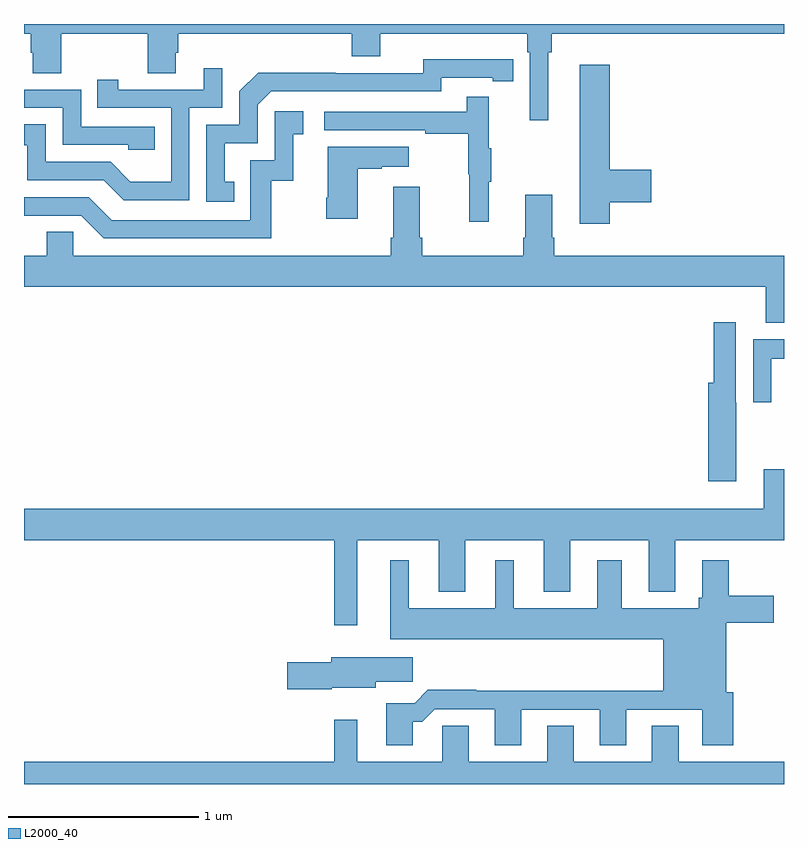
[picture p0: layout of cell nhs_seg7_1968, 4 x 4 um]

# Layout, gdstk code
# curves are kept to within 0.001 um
import gdstk
lib = gdstk.Library(unit=1e-6, precision=1e-09)
def P(c, l, *ps):  # polygons
    for p in ps: c.add(gdstk.Polygon(p, *l))
L2000_40 = (2000, 40)

nhs_seg7_1968 = lib.new_cell('nhs_seg7_1968')
P(nhs_seg7_1968, L2000_40, [(247,1002),(243,1002),(243,1001.948),(243.035,1001.948),(243.035,1001.85),(243.047,1001.85),(243.047,1001.74),(243.195,1001.74),(243.195,1001.948),(243.652,1001.948),(243.652,1001.74),(243.799,1001.74),(243.799,1001.85),(243.812,1001.85),(243.812,1001.948),(244.724,1001.948),(244.724,1001.831),(244.876,1001.831),(244.876,1001.948),(245.648,1001.948),(245.648,1001.852),(245.661,1001.852),(245.661,1001.493),(245.758,1001.493),(245.758,1001.852),(245.777,1001.852),(245.777,1001.948),(247,1001.948)],
  [(244.106,1001.169),(244.057,1001.169),(244.057,1001.373),(244.23,1001.373),(244.23,1001.574),(244.302,1001.646),(245.196,1001.646),(245.196,1001.718),(245.468,1001.718),(245.468,1001.698),(245.576,1001.698),(245.576,1001.814),(245.1,1001.815),(245.1,1001.742),(244.64,1001.742),(244.64,1001.744),(244.232,1001.744),(244.134,1001.646),(244.134,1001.469),(243.96,1001.469),(243.96,1001.064),(244.106,1001.064)],
  [(246.083,1001.063),(246.301,1001.063),(246.301,1001.234),(246.083,1001.234),(246.083,1001.785),(245.924,1001.785),(245.924,1000.95),(246.083,1000.95)],
  [(243.87,1001.559),(244.044,1001.559),(244.044,1001.767),(243.947,1001.767),(243.947,1001.655),(243.496,1001.655),(243.496,1001.707),(243.385,1001.707),(243.385,1001.559),(243.774,1001.559),(243.774,1001.17),(243.56,1001.17),(243.456,1001.274),(243.114,1001.274),(243.114,1001.473),(243,1001.473),(243,1001.363),(243.016,1001.363),(243.016,1001.178),(243.419,1001.178),(243.524,1001.073),(243.87,1001.073)],
  [(243.689,1001.46),(243.3,1001.46),(243.3,1001.655),(243,1001.655),(243,1001.559),(243.204,1001.559),(243.204,1001.364),(243.549,1001.364),(243.549,1001.337),(243.689,1001.337)],
  [(245.447,1001.171),(245.458,1001.171),(245.458,1001.345),(245.447,1001.345),(245.447,1001.617),(245.329,1001.617),(245.329,1001.538),(244.581,1001.538),(244.581,1001.442),(245.113,1001.442),(245.113,1001.422),(245.337,1001.422),(245.337,1001.208),(245.344,1001.208),(245.344,1000.959),(245.447,1000.959)],
  [(244.3,1001.175),(244.418,1001.175),(244.418,1001.421),(244.471,1001.421),(244.471,1001.542),(244.32,1001.542),(244.32,1001.283),(244.191,1001.283),(244.191,1000.968),(243.462,1000.968),(243.342,1001.088),(243,1001.088),(243,1000.992),(243.3,1000.992),(243.42,1000.872),(244.3,1000.872)],
  [(244.756,1001.239),(244.883,1001.239),(244.883,1001.249),(245.026,1001.249),(245.026,1001.353),(244.598,1001.353),(244.598,1001.086),(244.591,1001.086),(244.591,1000.974),(244.756,1000.974)],
  [(247,1000.78),(245.792,1000.78),(245.792,1000.876),(245.779,1000.876),(245.779,1001.101),(245.639,1001.101),(245.639,1000.876),(245.627,1000.876),(245.627,1000.78),(245.096,1000.78),(245.096,1000.876),(245.083,1000.876),(245.083,1001.143),(244.943,1001.143),(244.943,1000.876),(244.931,1000.876),(244.931,1000.78),(243.258,1000.78),(243.258,1000.907),(243.119,1000.907),(243.119,1000.78),(243,1000.78),(243,1000.616),(246.905,1000.616),(246.905,1000.427),(247,1000.427)],
  [(246.748,1000.007),(246.747,1000.007),(246.747,1000.429),(246.631,1000.429),(246.631,1000.111),(246.602,1000.111),(246.602,999.594),(246.748,999.594)],
  [(246.933,1000.238),(247,1000.238),(247,1000.342),(246.837,1000.342),(246.837,1000.008),(246.933,1000.008)],
  [(244.753,999.284),(245.183,999.284),(245.183,999.011),(245.323,999.011),(245.323,999.284),(245.735,999.284),(245.735,999.011),(245.875,999.011),(245.875,999.284),(246.287,999.284),(246.287,999.011),(246.427,999.011),(246.427,999.284),(247,999.284),(247,999.657),(246.893,999.657),(246.893,999.448),(243,999.448),(243,999.284),(244.632,999.284),(244.632,998.835),(244.753,998.835)],
  [(245.047,998.327),(245.096,998.327),(245.163,998.394),(245.477,998.394),(245.477,998.205),(245.617,998.205),(245.617,998.391),(246.029,998.391),(246.029,998.205),(246.169,998.205),(246.169,998.391),(246.569,998.391),(246.569,998.205),(246.734,998.205),(246.734,998.484),(246.697,998.484),(246.697,998.849),(246.946,998.849),(246.946,998.991),(246.71,998.991),(246.71,999.178),(246.569,999.178),(246.569,998.979),(246.55,998.979),(246.55,998.926),(246.145,998.926),(246.145,999.178),(246.017,999.178),(246.017,998.926),(245.578,998.926),(245.578,999.178),(245.48,999.178),(245.48,998.926),(245.026,998.926),(245.026,999.178),(244.928,999.178),(244.928,998.762),(246.365,998.762),(246.365,998.492),(245.381,998.492),(245.381,998.495),(245.126,998.495),(245.056,998.425),(244.907,998.425),(244.907,998.205),(245.047,998.205)],
  [(244.62,998.507),(244.852,998.507),(244.852,998.539),(245.047,998.539),(245.047,998.668),(244.616,998.668),(244.616,998.642),(244.386,998.642),(244.386,998.5),(244.62,998.5)],
  [(247,998.116),(246.445,998.116),(246.445,998.306),(246.305,998.306),(246.305,998.116),(245.893,998.116),(245.893,998.306),(245.753,998.306),(245.753,998.116),(245.341,998.116),(245.341,998.306),(245.202,998.306),(245.202,998.116),(244.753,998.116),(244.753,998.338),(244.632,998.338),(244.632,998.116),(243,998.116),(243,998),(247,998)])

lib.write_gds('nhs_seg7_1968.gds')
